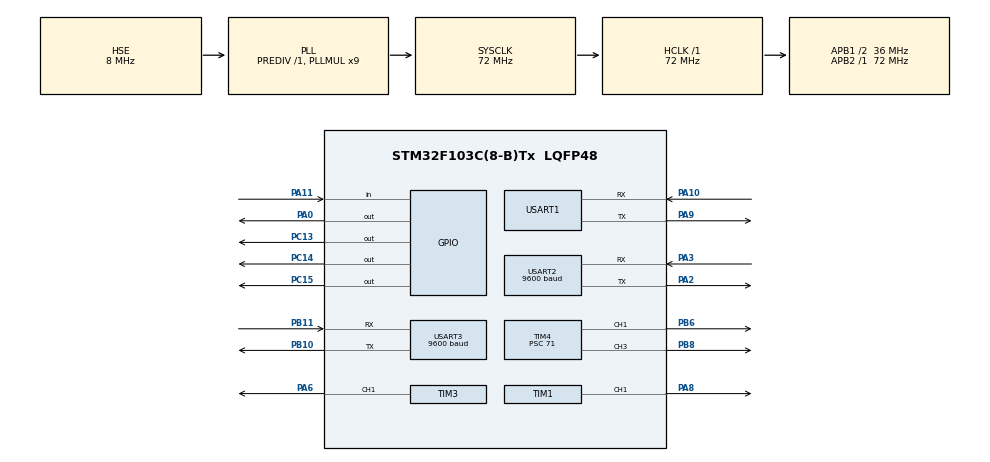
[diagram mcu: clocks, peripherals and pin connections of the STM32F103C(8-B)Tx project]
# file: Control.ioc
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Mcu.Family=STM32F1
Mcu.Name=STM32F103C(8-B)Tx
Mcu.Package=LQFP48
NVIC.PriorityGroup=NVIC_PRIORITYGROUP_4
NVIC.USART1_IRQn=true\:0\:0\:false\:false\:true
NVIC.USART2_IRQn=true\:0\:0\:false\:false\:true
NVIC.USART3_IRQn=true\:0\:0\:false\:false\:true
PA0-WKUP.Signal=GPIO_Output
PA10.Mode=Asynchronous
PA10.Signal=USART1_RX
PA11.Signal=GPIO_Input
PA13.Mode=Serial_Wire
PA13.Signal=SYS_JTMS-SWDIO
PA14.Mode=Serial_Wire
PA14.Signal=SYS_JTCK-SWCLK
PA2.Mode=Asynchronous
PA2.Signal=USART2_TX
PA3.Mode=Asynchronous
PA3.Signal=USART2_RX
PA6.Signal=S_TIM3_CH1
PA8.Signal=S_TIM1_CH1
PA9.Mode=Asynchronous
PA9.Signal=USART1_TX
PB10.Mode=Asynchronous
PB10.Signal=USART3_TX
PB11.Mode=Asynchronous
PB11.Signal=USART3_RX
PB6.Signal=S_TIM4_CH1
PB8.Signal=S_TIM4_CH3
PC13-TAMPER-RTC.Signal=GPIO_Output
PC14-OSC32_IN.Signal=GPIO_Output
PC15-OSC32_OUT.Signal=GPIO_Output
PD0-OSC_IN.Mode=HSE-External-Oscillator
PD0-OSC_IN.Signal=RCC_OSC_IN
PD1-OSC_OUT.Mode=HSE-External-Oscillator
PD1-OSC_OUT.Signal=RCC_OSC_OUT
ProjectManager.HeapSize=0x200
ProjectManager.StackSize=0x400
ProjectManager.TargetToolchain=MDK-ARM V5
RCC.AHBFreq_Value=72000000
RCC.APB1CLKDivider=RCC_HCLK_DIV2
RCC.APB1Freq_Value=36000000
RCC.APB1TimFreq_Value=72000000
RCC.APB2Freq_Value=72000000
RCC.APB2TimFreq_Value=72000000
RCC.HCLKFreq_Value=72000000
RCC.PLLMUL=RCC_PLL_MUL9
RCC.PLLSourceVirtual=RCC_PLLSOURCE_HSE
RCC.SYSCLKFreq_VALUE=72000000
RCC.SYSCLKSource=RCC_SYSCLKSOURCE_PLLCLK
RCC.USBFreq_Value=72000000
SH.S_TIM1_CH1.0=TIM1_CH1,PWM Generation1 CH1
SH.S_TIM3_CH1.0=TIM3_CH1,PWM Generation1 CH1
SH.S_TIM4_CH1.0=TIM4_CH1,PWM Generation1 CH1
SH.S_TIM4_CH3.0=TIM4_CH3,PWM Generation3 CH3
TIM1.Channel-PWM\ Generation1\ CH1=TIM_CHANNEL_1
TIM1.Period=100
TIM1.Prescaler=71
TIM3.Channel-PWM\ Generation1\ CH1=TIM_CHANNEL_1
TIM3.Period=100
TIM3.Prescaler=71
TIM4.Channel-PWM\ Generation1\ CH1=TIM_CHANNEL_1
TIM4.Channel-PWM\ Generation3\ CH3=TIM_CHANNEL_3
TIM4.Period=100
TIM4.Prescaler=71
USART1.VirtualMode=VM_ASYNC
USART2.BaudRate=9600
USART2.VirtualMode=VM_ASYNC
USART3.BaudRate=9600
USART3.VirtualMode=VM_ASYNC
board=Control

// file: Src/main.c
/**
  ******************************************************************************
  * File Name          : main.c
  * Description        : Main program body
  ******************************************************************************
  *
  * COPYRIGHT(c) 2017 STMicroelectronics
  *
  * Redistribution and use in source and binary forms, with or without modification,
  * are permitted provided that the following conditions are met:
  *   1. Redistributions of source code must retain the above copyright notice,
  *      this list of conditions and the following disclaimer.
  *   2. Redistributions in binary form must reproduce the above copyright notice,
  *      this list of conditions and the following disclaimer in the documentation
  *      and/or other materials provided with the distribution.
  *   3. Neither the name of STMicroelectronics nor the names of its contributors
  *      may be used to endorse or promote products derived from this software
  *      without specific prior written permission.
  *
  * THIS SOFTWARE IS PROVIDED BY THE COPYRIGHT HOLDERS AND CONTRIBUTORS "AS IS"
  * AND ANY EXPRESS OR IMPLIED WARRANTIES, INCLUDING, BUT NOT LIMITED TO, THE
  * IMPLIED WARRANTIES OF MERCHANTABILITY AND FITNESS FOR A PARTICULAR PURPOSE ARE
  * DISCLAIMED. IN NO EVENT SHALL THE COPYRIGHT HOLDER OR CONTRIBUTORS BE LIABLE
  * FOR ANY DIRECT, INDIRECT, INCIDENTAL, SPECIAL, EXEMPLARY, OR CONSEQUENTIAL
  * DAMAGES (INCLUDING, BUT NOT LIMITED TO, PROCUREMENT OF SUBSTITUTE GOODS OR
  * SERVICES; LOSS OF USE, DATA, OR PROFITS; OR BUSINESS INTERRUPTION) HOWEVER
  * CAUSED AND ON ANY THEORY OF LIABILITY, WHETHER IN CONTRACT, STRICT LIABILITY,
  * OR TORT (INCLUDING NEGLIGENCE OR OTHERWISE) ARISING IN ANY WAY OUT OF THE USE
  * OF THIS SOFTWARE, EVEN IF ADVISED OF THE POSSIBILITY OF SUCH DAMAGE.
  *
  ******************************************************************************
  */
#include "stm32f1xx_hal.h"
#include "tim.h"
#include "usart.h"
#include "gpio.h"

/* USER CODE BEGIN Includes */
#include "oled.h"
#include "wifi.h"
#include "Control.h"
/* USER CODE END Includes */

/* USER CODE BEGIN PV */
/* Private variables ---------------------------------------------------------*/

/* USER CODE END PV */

void SystemClock_Config(void);
void Error_Handler(void);

/* USER CODE BEGIN PFP */
/* Private function prototypes -----------------------------------------------*/

/* USER CODE END PFP */

/* USER CODE BEGIN 0 */
#include "stdio.h"
#ifdef __GNUC__
#define PUTCHAR_PROTOTYPE int __io_putchar(int ch)
#else
#define PUTCHAR_PROTOTYPE int fputc(int ch, FILE *f)
#endif
PUTCHAR_PROTOTYPE
{
    HAL_UART_Transmit(&huart1 , (uint8_t *)&ch, 1 , 0xffff);
    return ch;
}

uint8_t usart1_temp;        //USART1临时接收
uint8_t usart2_temp;        //USART2临时接收
uint8_t usart3_temp;        //USART3临时接收
uint8_t RunFlag = 0;          //电机启动标志
extern const unsigned char KaiShiShiBie[256];
/* USER CODE END 0 */

int main(void)
{

    /* MCU Configuration----------------------------------------------------------*/

    /* Reset of all peripherals, Initializes the Flash interface and the Systick. */
    HAL_Init();

    /* Configure the system clock */
    SystemClock_Config();

    /* Initialize all configured peripherals */
    MX_GPIO_Init();
    MX_USART2_UART_Init();
    MX_USART3_UART_Init();
    MX_TIM4_Init();
    MX_USART1_UART_Init();
    MX_TIM1_Init();
    MX_TIM3_Init();

    /* USER CODE BEGIN 2 */
    HAL_TIM_PWM_Start(&htim1, TIM_CHANNEL_1);
    HAL_TIM_PWM_Start(&htim3, TIM_CHANNEL_1);
    HAL_TIM_PWM_Start(&htim4, TIM_CHANNEL_1);
    HAL_TIM_PWM_Start(&htim4, TIM_CHANNEL_3);

    while (HAL_UART_Receive_IT(&huart1, &usart1_temp,
                               sizeof(usart1_temp)) != HAL_OK);//开启串口1中断
    while (HAL_UART_Receive_IT(&huart2, &usart2_temp,
                               sizeof(usart2_temp)) != HAL_OK);//开启串口2中断
    while (HAL_UART_Receive_IT(&huart3, &usart3_temp,
                               sizeof(usart3_temp)) != HAL_OK);//开启串口3中断

    OLED_Init();                    //初始化OLED

    OLED_Clear();
    OLED_ShowString(12, 12, "Ready", 24);
    OLED_Refresh_Gram();//更新显示到OLED

    /* USER CODE END 2 */

    /* Infinite loop */
    while (1)
    {

        /* USER CODE BEGIN 3 */
        if (RunFlag)
        {
            HAL_Delay(1000);
            Stop();
            RunFlag = 0;
        }
    }
    /* USER CODE END 3 */

}

/** System Clock Configuration
*/
void SystemClock_Config(void)
{

    RCC_OscInitTypeDef RCC_OscInitStruct;
    RCC_ClkInitTypeDef RCC_ClkInitStruct;

    RCC_OscInitStruct.OscillatorType = RCC_OSCILLATORTYPE_HSE;
    RCC_OscInitStruct.HSEState = RCC_HSE_ON;
    RCC_OscInitStruct.HSEPredivValue = RCC_HSE_PREDIV_DIV1;
    RCC_OscInitStruct.HSIState = RCC_HSI_ON;
    RCC_OscInitStruct.PLL.PLLState = RCC_PLL_ON;
    RCC_OscInitStruct.PLL.PLLSource = RCC_PLLSOURCE_HSE;
    RCC_OscInitStruct.PLL.PLLMUL = RCC_PLL_MUL9;
    if (HAL_RCC_OscConfig(&RCC_OscInitStruct) != HAL_OK)
    {
        Error_Handler();
    }

    RCC_ClkInitStruct.ClockType = RCC_CLOCKTYPE_HCLK | RCC_CLOCKTYPE_SYSCLK
                                  | RCC_CLOCKTYPE_PCLK1 | RCC_CLOCKTYPE_PCLK2;
    RCC_ClkInitStruct.SYSCLKSource = RCC_SYSCLKSOURCE_PLLCLK;
    RCC_ClkInitStruct.AHBCLKDivider = RCC_SYSCLK_DIV1;
    RCC_ClkInitStruct.APB1CLKDivider = RCC_HCLK_DIV2;
    RCC_ClkInitStruct.APB2CLKDivider = RCC_HCLK_DIV1;
    if (HAL_RCC_ClockConfig(&RCC_ClkInitStruct, FLASH_LATENCY_2) != HAL_OK)
    {
        Error_Handler();
    }

    HAL_SYSTICK_Config(HAL_RCC_GetHCLKFreq() / 1000);

    HAL_SYSTICK_CLKSourceConfig(SYSTICK_CLKSOURCE_HCLK);

    /* SysTick_IRQn interrupt configuration */
    HAL_NVIC_SetPriority(SysTick_IRQn, 0, 0);
}

void Error_Handler(void)
{
    while (1)
    {
    }
}

/************************ (C) COPYRIGHT STMicroelectronics *****END OF FILE****/
